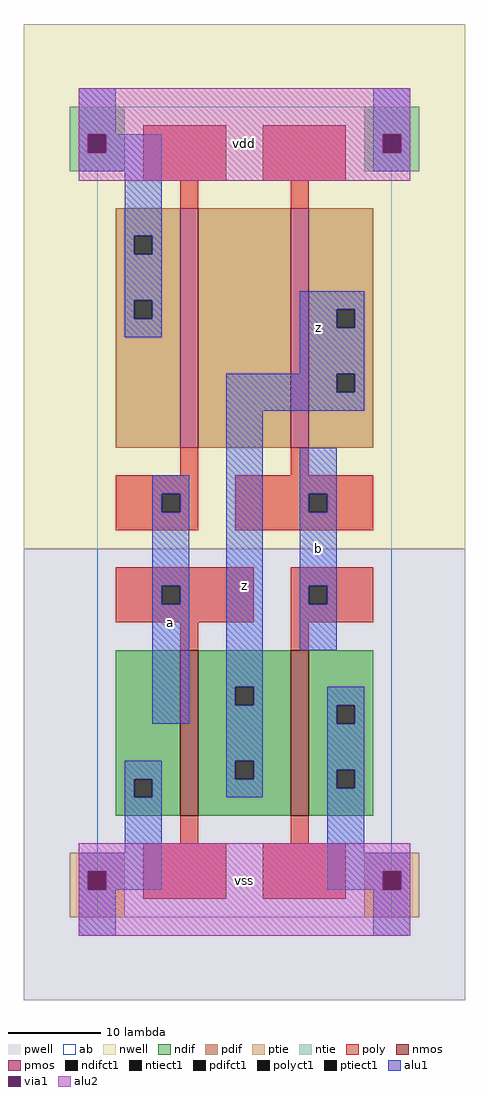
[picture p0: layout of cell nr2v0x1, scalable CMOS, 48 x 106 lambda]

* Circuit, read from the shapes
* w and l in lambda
.subckt nr2v0x1 a b vdd vss z
M1 z a vss vss nfet w=18 l=2
M2 vss b z vss nfet w=18 l=2
M3 n1 a vdd vdd pfet w=26 l=2
M4 z b n1 vdd pfet w=26 l=2
.ends

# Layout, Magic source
magic
tech scmos
<< ab >>
rect 0 0 32 88
<< nwell >>
rect -8 40 40 97
<< pwell >>
rect -8 -9 40 40
<< poly >>
rect 5 80 14 86
rect 18 80 27 86
rect 9 77 11 80
rect 21 77 23 80
rect 9 48 11 51
rect 21 48 23 51
rect 2 46 11 48
rect 2 44 7 46
rect 9 44 11 46
rect 2 42 11 44
rect 15 46 30 48
rect 15 44 23 46
rect 25 44 30 46
rect 15 42 30 44
rect 2 36 17 38
rect 2 34 7 36
rect 9 34 17 36
rect 2 32 17 34
rect 21 36 30 38
rect 21 34 23 36
rect 25 34 30 36
rect 21 32 30 34
rect 9 29 11 32
rect 21 29 23 32
rect 9 8 11 11
rect 21 8 23 11
rect 5 2 14 8
rect 18 2 27 8
<< ndif >>
rect 2 15 9 29
rect 2 13 4 15
rect 6 13 9 15
rect 2 11 9 13
rect 11 25 21 29
rect 11 23 15 25
rect 17 23 21 25
rect 11 17 21 23
rect 11 15 15 17
rect 17 15 21 17
rect 11 11 21 15
rect 23 23 30 29
rect 23 21 26 23
rect 28 21 30 23
rect 23 16 30 21
rect 23 14 26 16
rect 28 14 30 16
rect 23 11 30 14
<< pdif >>
rect 2 74 9 77
rect 2 72 4 74
rect 6 72 9 74
rect 2 67 9 72
rect 2 65 4 67
rect 6 65 9 67
rect 2 51 9 65
rect 11 51 21 77
rect 23 66 30 77
rect 23 64 26 66
rect 28 64 30 66
rect 23 59 30 64
rect 23 57 26 59
rect 28 57 30 59
rect 23 51 30 57
<< alu1 >>
rect -2 85 2 90
rect 30 85 34 90
rect -2 83 -1 85
rect 1 83 7 85
rect -2 81 7 83
rect 30 83 31 85
rect 33 83 34 85
rect 30 81 34 83
rect 3 74 7 81
rect 3 72 4 74
rect 6 72 7 74
rect 3 67 7 72
rect 3 65 4 67
rect 6 65 7 67
rect 3 63 7 65
rect 22 66 29 68
rect 22 64 26 66
rect 28 64 29 66
rect 22 59 29 64
rect 14 57 26 59
rect 28 57 29 59
rect 14 55 29 57
rect 6 46 10 48
rect 6 44 7 46
rect 9 44 10 46
rect 6 36 10 44
rect 6 34 7 36
rect 9 34 10 36
rect 6 21 10 34
rect 14 25 18 55
rect 22 46 26 51
rect 22 44 23 46
rect 25 44 26 46
rect 22 36 26 44
rect 22 34 23 36
rect 25 34 26 36
rect 22 29 26 34
rect 14 23 15 25
rect 17 23 18 25
rect 14 17 18 23
rect 3 15 7 17
rect 3 13 4 15
rect 6 13 7 15
rect 14 15 15 17
rect 17 15 18 17
rect 14 13 18 15
rect 25 23 29 25
rect 25 21 26 23
rect 28 21 29 23
rect 25 16 29 21
rect 25 14 26 16
rect 28 14 29 16
rect 3 7 7 13
rect -2 5 7 7
rect -2 3 -1 5
rect 1 3 7 5
rect 25 7 29 14
rect 25 5 34 7
rect 25 3 31 5
rect 33 3 34 5
rect -2 -2 2 3
rect 30 -2 34 3
<< alu2 >>
rect -2 85 34 90
rect -2 83 -1 85
rect 1 83 31 85
rect 33 83 34 85
rect -2 80 34 83
rect -2 5 34 8
rect -2 3 -1 5
rect 1 3 31 5
rect 33 3 34 5
rect -2 -2 34 3
<< ptie >>
rect -3 5 3 7
rect -3 3 -1 5
rect 1 3 3 5
rect -3 0 3 3
rect 29 5 35 7
rect 29 3 31 5
rect 33 3 35 5
rect 29 0 35 3
<< ntie >>
rect -3 85 3 88
rect -3 83 -1 85
rect 1 83 3 85
rect -3 81 3 83
rect 29 85 35 88
rect 29 83 31 85
rect 33 83 35 85
rect 29 81 35 83
<< nmos >>
rect 9 11 11 29
rect 21 11 23 29
<< pmos >>
rect 9 51 11 77
rect 21 51 23 77
<< polyct1 >>
rect 7 44 9 46
rect 23 44 25 46
rect 7 34 9 36
rect 23 34 25 36
<< ndifct1 >>
rect 4 13 6 15
rect 15 23 17 25
rect 15 15 17 17
rect 26 21 28 23
rect 26 14 28 16
<< ntiect1 >>
rect -1 83 1 85
rect 31 83 33 85
<< ptiect1 >>
rect -1 3 1 5
rect 31 3 33 5
<< pdifct1 >>
rect 4 72 6 74
rect 4 65 6 67
rect 26 64 28 66
rect 26 57 28 59
<< via1 >>
rect -1 83 1 85
rect 31 83 33 85
rect -1 3 1 5
rect 31 3 33 5
<< labels >>
rlabel alu1 8 32 8 32 6 a
rlabel alu1 16 36 16 36 6 z
rlabel alu1 24 40 24 40 6 b
rlabel alu1 24 64 24 64 6 z
rlabel alu2 16 4 16 4 6 vss
rlabel alu2 16 84 16 84 6 vdd
<< end >>
